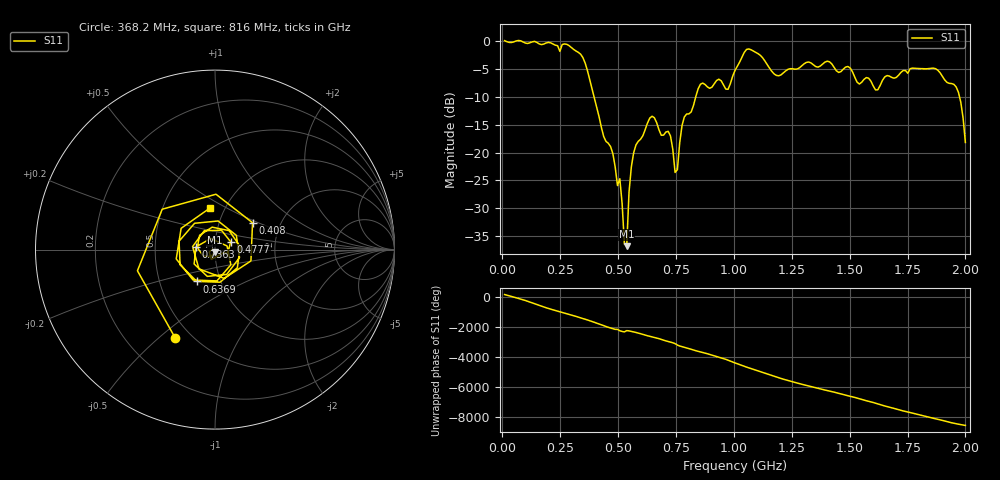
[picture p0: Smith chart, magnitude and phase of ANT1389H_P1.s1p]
!Created with skrf (http://scikit-rf.org).
# Hz S RI R 50.0
!freq ReS11 ImS11
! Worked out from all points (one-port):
!   201 points, 10 MHz to 2 GHz, reference 50 ohm
!   lowest |S11| = -36.8 dB at 537.4 MHz (marker M1), VSWR 1.03, Z = 49.7 - j1.41 ohm
!   |S11| at or under -10 dB: 396.7 MHz to 835.3 MHz (438.6 MHz wide, 71.2 % of centre); 1.975 GHz to end of sweep
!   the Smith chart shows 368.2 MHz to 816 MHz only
!   S11 on the Smith chart (normalised r, x): 368.2 MHz: 0.41, -0.57; 408 MHz: 1.44, +0.46; 477.6 MHz: 1.19, +0.10; 636.9 MHz: 0.77, -0.29; 736.4 MHz: 0.81, +0.02; 816 MHz: 0.85, +0.41
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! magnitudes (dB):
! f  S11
! 10 MHz  0.1
! 258.8 MHz  -0.6
! 368.2 MHz  -5.3
! 408 MHz  -11.8
! 477.6 MHz  -20.2
! 497.6 MHz  -25.9
! 507.5 MHz  -24.7
! 527.4 MHz  -36.5
! 537.4 MHz  -36.8
! 547.3 MHz  -27.1
! 567.2 MHz  -20.1
! 636.9 MHz  -13.8
! 736.4 MHz  -19.4
! 746.3 MHz  -23.6
! 756.2 MHz  -23.1
! 776.1 MHz  -15.2
! 816 MHz  -12.7
! 855.8 MHz  -7.7
! 975.1 MHz  -8.6
! 1.005 GHz  -5.2
! 1.065 GHz  -1.4
! 1.184 GHz  -6.1
! 1.254 GHz  -4.9
! 1.502 GHz  -4.8
! 1.612 GHz  -8.7
! 1.751 GHz  -5.7
! 1.96 GHz  -8.2
! 2 GHz  -18.2
